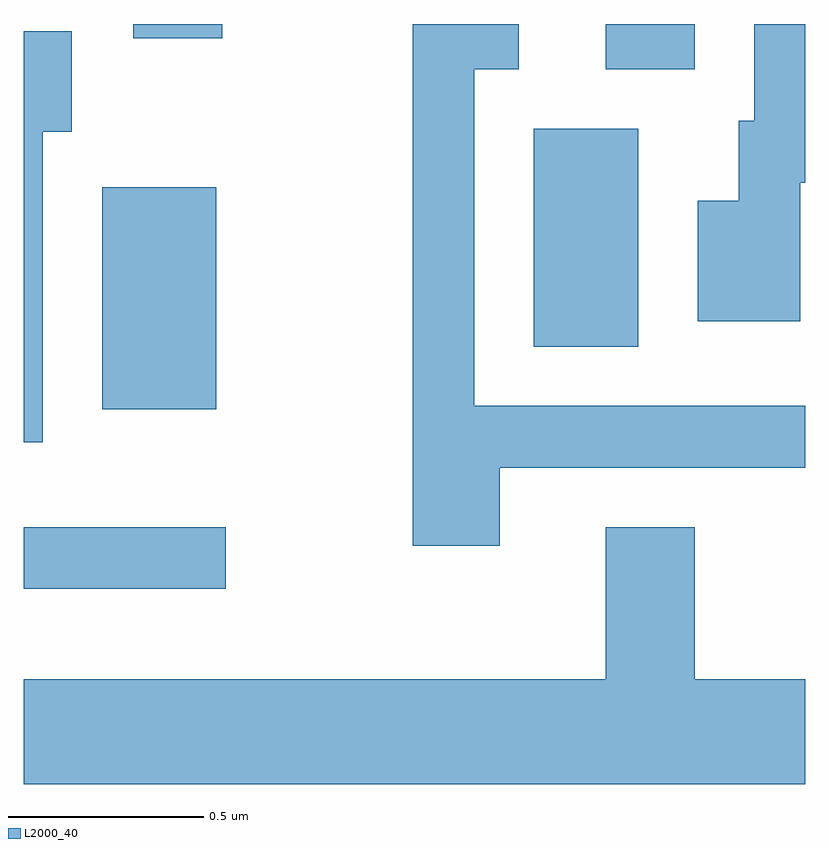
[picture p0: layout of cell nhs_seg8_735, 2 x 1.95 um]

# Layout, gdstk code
import gdstk
lib = gdstk.Library(unit=1e-6, precision=1e-09)
def R(c, l, rs):  # rectangles x0, y0, x1, y1
    for r in rs: c.add(gdstk.rectangle(r[:2], r[2:], *l))
def P(c, l, *ps):  # polygons
    for p in ps: c.add(gdstk.Polygon(p, *l))
L2000_40 = (2000, 40)

nhs_seg8_735 = lib.new_cell('nhs_seg8_735')
R(nhs_seg8_735, L2000_40, [(190.611,1856.896,191.128,1857.054), (190.811,1857.356,191.104,1857.924), (191.916,1857.516,192.184,1858.074), (192.101,1858.226,192.329,1858.342), (190.891,1858.306,191.119,1858.342)])
P(nhs_seg8_735, L2000_40, [(192.599,1857.936),(192.611,1857.936),(192.611,1858.342),(192.481,1858.342),(192.481,1858.094),(192.441,1858.094),(192.441,1857.889),(192.336,1857.889),(192.336,1857.581),(192.599,1857.581)],
  [(191.829,1857.206),(192.611,1857.206),(192.611,1857.364),(191.764,1857.364),(191.764,1858.226),(191.878,1858.226),(191.878,1858.342),(191.606,1858.342),(191.606,1857.006),(191.829,1857.006)],
  [(190.659,1858.066),(190.734,1858.066),(190.734,1858.324),(190.611,1858.324),(190.611,1857.271),(190.659,1857.271)],
  [(192.611,1856.664),(192.329,1856.664),(192.329,1857.054),(192.101,1857.054),(192.101,1856.664),(190.611,1856.664),(190.611,1856.396),(192.611,1856.396)])

lib.write_gds('nhs_seg8_735.gds')
